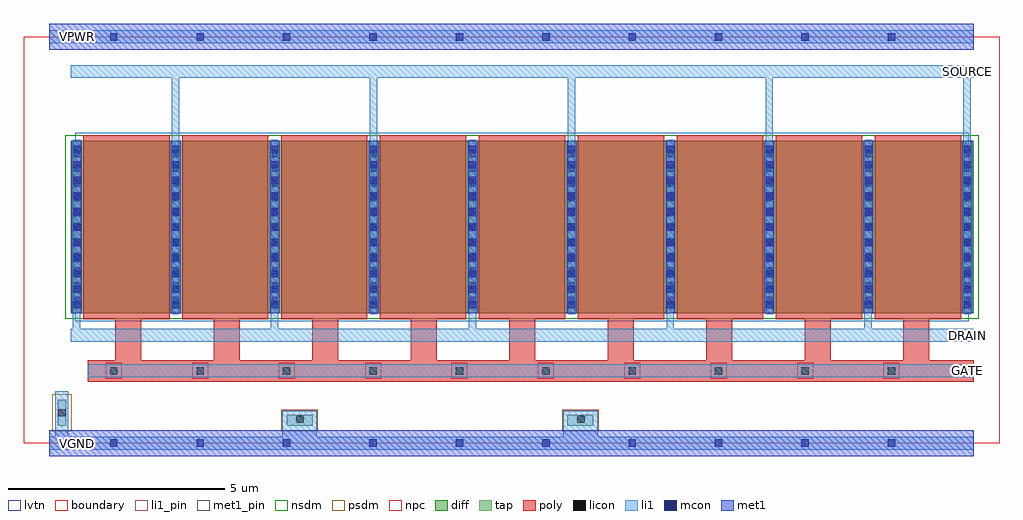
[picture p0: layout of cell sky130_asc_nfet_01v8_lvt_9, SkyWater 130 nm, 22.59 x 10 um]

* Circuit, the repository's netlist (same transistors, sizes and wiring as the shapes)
* NGSPICE file created from sky130_asc_nfet_01v8_lvt_9.ext - technology: sky130A

.subckt sky130_asc_nfet_01v8_lvt_9 GATE SOURCE DRAIN VPWR VGND
X0 SOURCE GATE DRAIN VGND sky130_fd_pr__nfet_01v8_lvt ad=5.8e+12p pd=4.29e+07u as=5.8e+12p ps=4.29e+07u w=4e+06u l=2e+06u
X1 DRAIN GATE SOURCE VGND sky130_fd_pr__nfet_01v8_lvt ad=0p pd=0u as=0p ps=0u w=4e+06u l=2e+06u
X2 SOURCE GATE DRAIN VGND sky130_fd_pr__nfet_01v8_lvt ad=0p pd=0u as=0p ps=0u w=4e+06u l=2e+06u
X3 DRAIN GATE SOURCE VGND sky130_fd_pr__nfet_01v8_lvt ad=0p pd=0u as=0p ps=0u w=4e+06u l=2e+06u
X4 SOURCE GATE DRAIN VGND sky130_fd_pr__nfet_01v8_lvt ad=0p pd=0u as=0p ps=0u w=4e+06u l=2e+06u
X5 DRAIN GATE SOURCE VGND sky130_fd_pr__nfet_01v8_lvt ad=0p pd=0u as=0p ps=0u w=4e+06u l=2e+06u
X6 SOURCE GATE DRAIN VGND sky130_fd_pr__nfet_01v8_lvt ad=0p pd=0u as=0p ps=0u w=4e+06u l=2e+06u
X7 SOURCE GATE DRAIN VGND sky130_fd_pr__nfet_01v8_lvt ad=0p pd=0u as=0p ps=0u w=4e+06u l=2e+06u
X8 DRAIN GATE SOURCE VGND sky130_fd_pr__nfet_01v8_lvt ad=0p pd=0u as=0p ps=0u w=4e+06u l=2e+06u
.ends

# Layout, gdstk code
import gdstk
lib = gdstk.Library(unit=1e-6, precision=1e-09)
def R(c, l, rs):  # rectangles x0, y0, x1, y1
    for r in rs: c.add(gdstk.rectangle(r[:2], r[2:], *l))
def A(c, l, x, y, w, h, nx, ny, dx, dy):  # array of equal rectangles
    R(c, l, [(x+i*dx, y+j*dy, x+i*dx+w, y+j*dy+h) for i in range(nx) for j in range(ny)])
diff = (65, 20)
tap = (65, 44)
poly = (66, 20)
licon = (66, 44)
li1_pin = (67, 16)
li1 = (67, 20)
mcon = (67, 44)
met1_pin = (68, 16)
met1 = (68, 20)
nsdm = (93, 44)
psdm = (94, 20)
npc = (95, 20)
lvtn = (125, 44)
boundary = (235, 4)

sky130_asc_nfet_01v8_lvt = lib.new_cell('sky130_asc_nfet_01v8_lvt_9')
R(sky130_asc_nfet_01v8_lvt, diff, [(1.09,3,21.99,7)])
R(sky130_asc_nfet_01v8_lvt, tap, [(0.79,0.4,0.99,1), (6.09,0.4,6.69,0.65), (12.59,0.4,13.19,0.65)])
A(sky130_asc_nfet_01v8_lvt, poly, 2.12, 1.92, 0.6, 0.95, 9, 1, 2.28, 0)
A(sky130_asc_nfet_01v8_lvt, poly, 1.38, 2.87, 2, 4.26, 9, 1, 2.29, 0)
R(sky130_asc_nfet_01v8_lvt, poly, [(1.49,1.42,21.99,1.92)])
A(sky130_asc_nfet_01v8_lvt, licon, 2.005, 1.585, 0.17, 0.17, 10, 1, 2, 0)
A(sky130_asc_nfet_01v8_lvt, licon, 1.15, 3.215, 0.17, 0.17, 10, 11, 2.29, 0.34)
R(sky130_asc_nfet_01v8_lvt, licon, [(6.315,0.465,6.485,0.635), (12.815,0.465,12.985,0.635), (0.805,0.615,0.975,0.785)])
R(sky130_asc_nfet_01v8_lvt, li1_pin, [(21.69,1.52,21.99,1.82), (21.69,2.35,21.99,2.65), (21.69,8.45,21.99,8.75)])
A(sky130_asc_nfet_01v8_lvt, li1, 1.145, 2.65, 0.17, 0.33, 5, 1, 4.58, 0)
A(sky130_asc_nfet_01v8_lvt, li1, 1.145, 2.98, 0.175, 0.29, 5, 1, 4.58, 0)
A(sky130_asc_nfet_01v8_lvt, li1, 3.44, 2.98, 0.17, 3.95, 5, 1, 4.58, 0)
A(sky130_asc_nfet_01v8_lvt, li1, 1.15, 3.27, 0.17, 3.75, 5, 1, 4.58, 0)
A(sky130_asc_nfet_01v8_lvt, li1, 3.435, 6.93, 0.175, 0.09, 5, 1, 4.58, 0)
A(sky130_asc_nfet_01v8_lvt, li1, 3.435, 7.02, 0.17, 1.43, 5, 1, 4.58, 0)
R(sky130_asc_nfet_01v8_lvt, li1, [(0.6,-0.15,21.99,0.15), (0.74,0.15,1.04,1.2), (5.99,0.15,6.79,0.75), (12.49,0.15,13.29,0.75), (1.49,1.52,21.99,1.82), (1.09,2.35,21.99,2.65), (1.09,8.45,21.99,8.75), (0.6,9.25,21.99,9.55)])
A(sky130_asc_nfet_01v8_lvt, mcon, 2.005, -0.085, 0.17, 0.17, 10, 2, 2, 9.4)
A(sky130_asc_nfet_01v8_lvt, mcon, 1.15, 3.115, 0.17, 0.17, 10, 11, 2.29, 0.36)
R(sky130_asc_nfet_01v8_lvt, met1_pin, [(1.09,-0.15,1.39,0.15), (1.09,9.25,1.39,9.55)])
A(sky130_asc_nfet_01v8_lvt, met1, 1.12, 3, 0.23, 4, 10, 1, 2.29, 0)
R(sky130_asc_nfet_01v8_lvt, met1, [(0.6,-0.3,21.99,0.3), (0.6,9.1,21.99,9.7)])
R(sky130_asc_nfet_01v8_lvt, nsdm, [(0.965,2.875,22.115,7.125)])
R(sky130_asc_nfet_01v8_lvt, psdm, [(0.665,0.275,1.115,1.125), (5.965,0.275,6.815,0.775), (12.465,0.275,13.315,0.775)])
A(sky130_asc_nfet_01v8_lvt, npc, 1.905, 1.485, 0.37, 0.37, 10, 1, 2, 0)
R(sky130_asc_nfet_01v8_lvt, lvtn, [(1.2,2.82,21.88,7.18)])
R(sky130_asc_nfet_01v8_lvt, boundary, [(0,0,22.59,9.4)])
sky130_asc_nfet_01v8_lvt.add(gdstk.Label('GATE', (21.84,1.67), layer=67, texttype=16))
sky130_asc_nfet_01v8_lvt.add(gdstk.Label('SOURCE', (21.84,8.6), layer=67, texttype=16))
sky130_asc_nfet_01v8_lvt.add(gdstk.Label('DRAIN', (21.84,2.5), layer=67, texttype=16))
sky130_asc_nfet_01v8_lvt.add(gdstk.Label('VPWR', (1.24,9.4), layer=68, texttype=16))
sky130_asc_nfet_01v8_lvt.add(gdstk.Label('VGND', (1.24,0), layer=68, texttype=16))

lib.write_gds('sky130_asc_nfet_01v8_lvt_9.gds')
